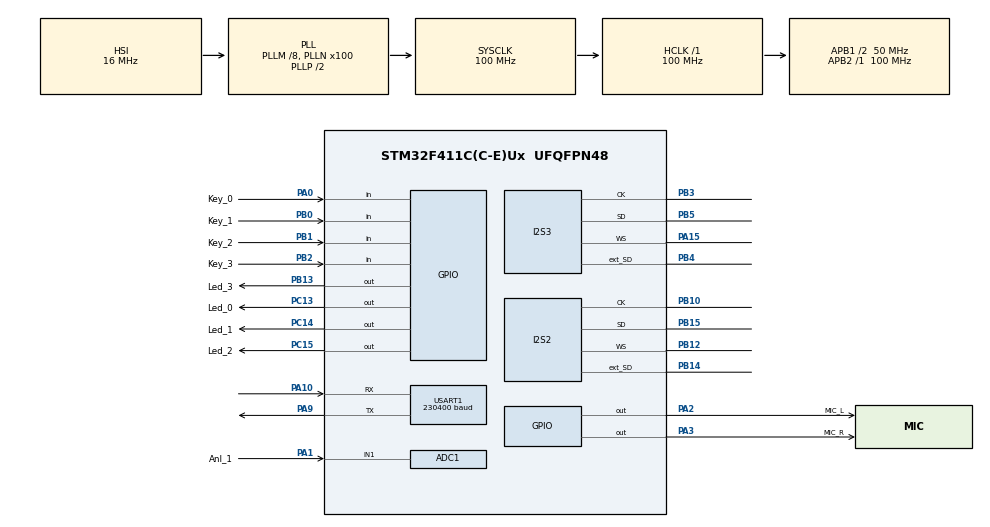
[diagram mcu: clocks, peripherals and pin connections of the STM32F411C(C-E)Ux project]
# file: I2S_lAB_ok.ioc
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ADC1.Channel-0\#ChannelRegularConversion=ADC_CHANNEL_1
ADC1.NbrOfConversionFlag=1
ADC1.Rank-0\#ChannelRegularConversion=1
ADC1.SamplingTime-0\#ChannelRegularConversion=ADC_SAMPLETIME_3CYCLES
ADC1.master=1
Dma.Request0=SPI2_TX
Dma.Request1=SPI3_RX
Dma.Request2=USART1_TX
Dma.SPI2_TX.0.Direction=DMA_MEMORY_TO_PERIPH
Dma.SPI2_TX.0.FIFOMode=DMA_FIFOMODE_DISABLE
Dma.SPI2_TX.0.Instance=DMA1_Stream4
Dma.SPI2_TX.0.MemDataAlignment=DMA_MDATAALIGN_HALFWORD
Dma.SPI2_TX.0.MemInc=DMA_MINC_ENABLE
Dma.SPI2_TX.0.Mode=DMA_CIRCULAR
Dma.SPI2_TX.0.PeriphDataAlignment=DMA_PDATAALIGN_HALFWORD
Dma.SPI2_TX.0.PeriphInc=DMA_PINC_DISABLE
Dma.SPI2_TX.0.Priority=DMA_PRIORITY_LOW
Dma.SPI3_RX.1.Direction=DMA_PERIPH_TO_MEMORY
Dma.SPI3_RX.1.FIFOMode=DMA_FIFOMODE_DISABLE
Dma.SPI3_RX.1.Instance=DMA1_Stream0
Dma.SPI3_RX.1.MemDataAlignment=DMA_MDATAALIGN_HALFWORD
Dma.SPI3_RX.1.MemInc=DMA_MINC_ENABLE
Dma.SPI3_RX.1.Mode=DMA_CIRCULAR
Dma.SPI3_RX.1.PeriphDataAlignment=DMA_PDATAALIGN_HALFWORD
Dma.SPI3_RX.1.PeriphInc=DMA_PINC_DISABLE
Dma.SPI3_RX.1.Priority=DMA_PRIORITY_LOW
Dma.USART1_TX.2.Direction=DMA_MEMORY_TO_PERIPH
Dma.USART1_TX.2.FIFOMode=DMA_FIFOMODE_DISABLE
Dma.USART1_TX.2.Instance=DMA2_Stream7
Dma.USART1_TX.2.MemDataAlignment=DMA_MDATAALIGN_BYTE
Dma.USART1_TX.2.MemInc=DMA_MINC_ENABLE
Dma.USART1_TX.2.Mode=DMA_NORMAL
Dma.USART1_TX.2.PeriphDataAlignment=DMA_PDATAALIGN_BYTE
Dma.USART1_TX.2.PeriphInc=DMA_PINC_DISABLE
Dma.USART1_TX.2.Priority=DMA_PRIORITY_LOW
I2S2.AudioFreq=I2S_AUDIOFREQ_44K
I2S2.CPOL=I2S_CPOL_LOW
I2S2.DataFormat=I2S_DATAFORMAT_16B_EXTENDED
I2S2.ErrorAudioFreq=0.26 %
I2S2.FullDuplexMode=I2S_FULLDUPLEXMODE_ENABLE
I2S2.Instance=SPI$Index
I2S2.RealAudioFreq=44.117 KHz
I2S2.VirtualMode=I2S_MODE_MASTER
I2S3.AudioFreq=I2S_AUDIOFREQ_44K
I2S3.CPOL=I2S_CPOL_LOW
I2S3.DataFormat=I2S_DATAFORMAT_16B_EXTENDED
I2S3.ErrorAudioFreq=0.26 %
I2S3.FullDuplexMode=I2S_FULLDUPLEXMODE_ENABLE
I2S3.Instance=SPI$Index
I2S3.Mode=I2S_MODE_MASTER_RX
I2S3.RealAudioFreq=44.117 KHz
I2S3.VirtualMode=I2S_MODE_MASTER
Mcu.Family=STM32F4
Mcu.Name=STM32F411C(C-E)Ux
Mcu.Package=UFQFPN48
NVIC.DMA1_Stream0_IRQn=true\:0\:0\:false\:false\:true\:false\:true\:true
NVIC.DMA1_Stream4_IRQn=true\:0\:0\:false\:false\:true\:false\:true\:true
NVIC.DMA2_Stream7_IRQn=true\:0\:0\:false\:false\:true\:false\:true\:true
NVIC.PriorityGroup=NVIC_PRIORITYGROUP_4
NVIC.SPI2_IRQn=true\:0\:0\:false\:false\:true\:true\:true\:true
NVIC.SPI3_IRQn=true\:0\:0\:false\:false\:true\:true\:true\:true
PA0-WKUP.GPIO_Label=Key_0
PA0-WKUP.Signal=GPIO_Input
PA1.GPIO_Label=Anl_1
PA1.Signal=ADCx_IN1
PA10.Mode=Asynchronous
PA10.Signal=USART1_RX
PA13.Mode=Serial_Wire
PA13.Signal=SYS_JTMS-SWDIO
PA14.Mode=Serial_Wire
PA14.Signal=SYS_JTCK-SWCLK
PA15.Mode=Full_Duplex_Master
PA15.Signal=I2S3_WS
PA2.GPIO_Label=MIC_L
PA2.Signal=GPIO_Output
PA3.GPIO_Label=MIC_R
PA3.PinState=GPIO_PIN_SET
PA3.Signal=GPIO_Output
PA9.Mode=Asynchronous
PA9.Signal=USART1_TX
PB0.GPIO_Label=Key_1
PB0.GPIO_PuPd=GPIO_PULLUP
PB0.Signal=GPIO_Input
PB1.GPIO_Label=Key_2
PB1.GPIO_PuPd=GPIO_PULLUP
PB1.Signal=GPIO_Input
PB10.Mode=Full_Duplex_Master
PB10.Signal=I2S2_CK
PB12.Mode=Full_Duplex_Master
PB12.Signal=I2S2_WS
PB13.GPIO_Label=Led_3
PB13.Signal=GPIO_Output
PB14.Mode=Full_Duplex_Master
PB14.Signal=I2S2_ext_SD
PB15.Mode=Full_Duplex_Master
PB15.Signal=I2S2_SD
PB2.GPIO_Label=Key_3
PB2.GPIO_PuPd=GPIO_PULLUP
PB2.Signal=GPIO_Input
PB3.Mode=Full_Duplex_Master
PB3.Signal=I2S3_CK
PB4.Mode=Full_Duplex_Master
PB4.Signal=I2S3_ext_SD
PB5.Mode=Full_Duplex_Master
PB5.Signal=I2S3_SD
PC13-ANTI_TAMP.GPIO_Label=Led_0
PC13-ANTI_TAMP.Signal=GPIO_Output
PC14-OSC32_IN.GPIO_Label=Led_1
PC14-OSC32_IN.Signal=GPIO_Output
PC15-OSC32_OUT.GPIO_Label=Led_2
PC15-OSC32_OUT.Signal=GPIO_Output
PH0\ -\ OSC_IN.Mode=HSE-External-Oscillator
PH0\ -\ OSC_IN.Signal=RCC_OSC_IN
PH1\ -\ OSC_OUT.Mode=HSE-External-Oscillator
PH1\ -\ OSC_OUT.Signal=RCC_OSC_OUT
ProjectManager.HeapSize=0x200
ProjectManager.StackSize=0x400
ProjectManager.TargetToolchain=STM32CubeIDE
RCC.48MHZClocksFreq_Value=50000000
RCC.AHBFreq_Value=100000000
RCC.APB1CLKDivider=RCC_HCLK_DIV2
RCC.APB1Freq_Value=50000000
RCC.APB1TimFreq_Value=100000000
RCC.APB2Freq_Value=100000000
RCC.APB2TimFreq_Value=100000000
RCC.CortexFreq_Value=100000000
RCC.HCLKFreq_Value=100000000
RCC.HSE_VALUE=25000000
RCC.HSI_VALUE=16000000
RCC.LSE_VALUE=32768
RCC.PLLM=8
RCC.PLLN=100
RCC.SYSCLKFreq_VALUE=100000000
RCC.SYSCLKSource=RCC_SYSCLKSOURCE_PLLCLK
RCC.VCOOutputFreq_Value=200000000
SH.ADCx_IN1.0=ADC1_IN1,IN1
USART1.BaudRate=230400
USART1.VirtualMode=VM_ASYNC
board=custom

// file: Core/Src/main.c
/* USER CODE BEGIN Header */
/**
  ******************************************************************************
  * @file           : main.c
  * @brief          : Main program body
  ******************************************************************************
  * @attention
  *
  * Copyright (c) 2025 STMicroelectronics.
  * All rights reserved.
  *
  * This software is licensed under terms that can be found in the LICENSE file
  * in the root directory of this software component.
  * If no LICENSE file comes with this software, it is provided AS-IS.
  *
  ******************************************************************************
  */
/* USER CODE END Header */
#include "main.h"

/* USER CODE BEGIN PTD */
#define BUFFER_SIZE 256
int16_t i2s_rx_buffer[BUFFER_SIZE];
int16_t i2s_tx_buffer[BUFFER_SIZE];
char msg[32];

float volume = 1;

//volatile float volume = 1.0f;

/* USER CODE END PTD */

ADC_HandleTypeDef hadc1;

I2S_HandleTypeDef hi2s2;
I2S_HandleTypeDef hi2s3;
DMA_HandleTypeDef hdma_spi2_tx;
DMA_HandleTypeDef hdma_spi3_rx;

UART_HandleTypeDef huart1;
DMA_HandleTypeDef hdma_usart1_tx;

void SystemClock_Config(void);
void PeriphCommonClock_Config(void);
static void MX_GPIO_Init(void);
static void MX_DMA_Init(void);
static void MX_ADC1_Init(void);
static void MX_I2S2_Init(void);
static void MX_I2S3_Init(void);
static void MX_USART1_UART_Init(void);

/* USER CODE BEGIN 0 */
float read_volume_from_potentiometer(void)
{
    HAL_ADC_Start(&hadc1);
    HAL_ADC_PollForConversion(&hadc1, 10);
    uint32_t adc_value = HAL_ADC_GetValue(&hadc1);
    HAL_ADC_Stop(&hadc1);

    // Преобразуем 0-4095 в 0.0 - 2.0
    // 0.0 = тишина, 1.0 = норма, 2.0 = усиление в 2 раза
    return (adc_value / 4095.0f) * 2.0f;
}

void apply_volume(int16_t *buffer, uint16_t size)
{
    for(uint16_t i = 0; i < size; i++) {
        int32_t sample = (int32_t)(buffer[i] * volume);

        // Защита от клиппинга (перегрузки)
        if(sample > 32767) sample = 32767;
        if(sample < -32768) sample = -32768;

        buffer[i] = (int16_t)sample;
    }
}

void HAL_I2S_RxHalfCpltCallback(I2S_HandleTypeDef *hi2s)
{
    // Копируем первую половину буфера
    memcpy(i2s_tx_buffer, i2s_rx_buffer, BUFFER_SIZE/2 * sizeof(int16_t));
    apply_volume(i2s_tx_buffer, BUFFER_SIZE/2);
}

// Обработчик прерывания Complete Transfer
void HAL_I2S_RxCpltCallback(I2S_HandleTypeDef *hi2s)
{
    // Копируем вторую половину буфера
    memcpy(i2s_tx_buffer + BUFFER_SIZE/2, i2s_rx_buffer + BUFFER_SIZE/2,
           BUFFER_SIZE/2 * sizeof(int16_t));
    apply_volume(i2s_tx_buffer + BUFFER_SIZE/2, BUFFER_SIZE/2);
}

/* USER CODE END 0 */

int main(void)
{

  /* MCU Configuration--------------------------------------------------------*/

  /* Reset of all peripherals, Initializes the Flash interface and the Systick. */
  HAL_Init();

  /* Configure the system clock */
  SystemClock_Config();

  /* Configure the peripherals common clocks */
  PeriphCommonClock_Config();

  /* Initialize all configured peripherals */
  MX_GPIO_Init();
  MX_DMA_Init();
  MX_ADC1_Init();
  MX_I2S2_Init();
  MX_I2S3_Init();
  MX_USART1_UART_Init();

  /* Infinite loop */
  /* USER CODE BEGIN WHILE */

  HAL_I2S_Receive_DMA(&hi2s3, (uint16_t*)i2s_rx_buffer, BUFFER_SIZE);
      HAL_I2S_Transmit_DMA(&hi2s2, (uint16_t*)i2s_tx_buffer, BUFFER_SIZE);
  while (1)
  {
	  volume = read_volume_from_potentiometer();
	  HAL_Delay(10);
	  sprintf(msg, "Vol: %.2f ADC: %.0f\r\n", volume, volume * 2047.5f);
	  HAL_UART_Transmit(&huart1, (uint8_t*)msg, strlen(msg), 100);
    /* USER CODE END WHILE */

  }
}

void SystemClock_Config(void)
{
  RCC_OscInitTypeDef RCC_OscInitStruct = {0};
  RCC_ClkInitTypeDef RCC_ClkInitStruct = {0};

  /** Configure the main internal regulator output voltage
  */
  __HAL_RCC_PWR_CLK_ENABLE();
  __HAL_PWR_VOLTAGESCALING_CONFIG(PWR_REGULATOR_VOLTAGE_SCALE1);

  /** Initializes the RCC Oscillators according to the specified parameters
  * in the RCC_OscInitTypeDef structure.
  */
  RCC_OscInitStruct.OscillatorType = RCC_OSCILLATORTYPE_HSI;
  RCC_OscInitStruct.HSIState = RCC_HSI_ON;
  RCC_OscInitStruct.HSICalibrationValue = RCC_HSICALIBRATION_DEFAULT;
  RCC_OscInitStruct.PLL.PLLState = RCC_PLL_ON;
  RCC_OscInitStruct.PLL.PLLSource = RCC_PLLSOURCE_HSI;
  RCC_OscInitStruct.PLL.PLLM = 8;
  RCC_OscInitStruct.PLL.PLLN = 100;
  RCC_OscInitStruct.PLL.PLLP = RCC_PLLP_DIV2;
  RCC_OscInitStruct.PLL.PLLQ = 4;
  if (HAL_RCC_OscConfig(&RCC_OscInitStruct) != HAL_OK)
  {
    Error_Handler();
  }

  /** Initializes the CPU, AHB and APB buses clocks
  */
  RCC_ClkInitStruct.ClockType = RCC_CLOCKTYPE_HCLK|RCC_CLOCKTYPE_SYSCLK
                              |RCC_CLOCKTYPE_PCLK1|RCC_CLOCKTYPE_PCLK2;
  RCC_ClkInitStruct.SYSCLKSource = RCC_SYSCLKSOURCE_PLLCLK;
  RCC_ClkInitStruct.AHBCLKDivider = RCC_SYSCLK_DIV1;
  RCC_ClkInitStruct.APB1CLKDivider = RCC_HCLK_DIV2;
  RCC_ClkInitStruct.APB2CLKDivider = RCC_HCLK_DIV1;

  if (HAL_RCC_ClockConfig(&RCC_ClkInitStruct, FLASH_LATENCY_3) != HAL_OK)
  {
    Error_Handler();
  }
}

void PeriphCommonClock_Config(void)
{
  RCC_PeriphCLKInitTypeDef PeriphClkInitStruct = {0};

  /** Initializes the peripherals clock
  */
  PeriphClkInitStruct.PeriphClockSelection = RCC_PERIPHCLK_I2S;
  PeriphClkInitStruct.PLLI2S.PLLI2SN = 192;
  PeriphClkInitStruct.PLLI2S.PLLI2SM = 16;
  PeriphClkInitStruct.PLLI2S.PLLI2SR = 2;
  if (HAL_RCCEx_PeriphCLKConfig(&PeriphClkInitStruct) != HAL_OK)
  {
    Error_Handler();
  }
}

static void MX_ADC1_Init(void)
{

  ADC_ChannelConfTypeDef sConfig = {0};

  /** Configure the global features of the ADC (Clock, Resolution, Data Alignment and number of conversion)
  */
  hadc1.Instance = ADC1;
  hadc1.Init.ClockPrescaler = ADC_CLOCK_SYNC_PCLK_DIV4;
  hadc1.Init.Resolution = ADC_RESOLUTION_12B;
  hadc1.Init.ScanConvMode = DISABLE;
  hadc1.Init.ContinuousConvMode = DISABLE;
  hadc1.Init.DiscontinuousConvMode = DISABLE;
  hadc1.Init.ExternalTrigConvEdge = ADC_EXTERNALTRIGCONVEDGE_NONE;
  hadc1.Init.ExternalTrigConv = ADC_SOFTWARE_START;
  hadc1.Init.DataAlign = ADC_DATAALIGN_RIGHT;
  hadc1.Init.NbrOfConversion = 1;
  hadc1.Init.DMAContinuousRequests = DISABLE;
  hadc1.Init.EOCSelection = ADC_EOC_SINGLE_CONV;
  if (HAL_ADC_Init(&hadc1) != HAL_OK)
  {
    Error_Handler();
  }

  /** Configure for the selected ADC regular channel its corresponding rank in the sequencer and its sample time.
  */
  sConfig.Channel = ADC_CHANNEL_1;
  sConfig.Rank = 1;
  sConfig.SamplingTime = ADC_SAMPLETIME_3CYCLES;
  if (HAL_ADC_ConfigChannel(&hadc1, &sConfig) != HAL_OK)
  {
    Error_Handler();
  }

}

static void MX_I2S2_Init(void)
{

  hi2s2.Instance = SPI2;
  hi2s2.Init.Mode = I2S_MODE_MASTER_TX;
  hi2s2.Init.Standard = I2S_STANDARD_PHILIPS;
  hi2s2.Init.DataFormat = I2S_DATAFORMAT_16B_EXTENDED;
  hi2s2.Init.MCLKOutput = I2S_MCLKOUTPUT_DISABLE;
  hi2s2.Init.AudioFreq = I2S_AUDIOFREQ_44K;
  hi2s2.Init.CPOL = I2S_CPOL_LOW;
  hi2s2.Init.ClockSource = I2S_CLOCK_PLL;
  hi2s2.Init.FullDuplexMode = I2S_FULLDUPLEXMODE_ENABLE;
  if (HAL_I2S_Init(&hi2s2) != HAL_OK)
  {
    Error_Handler();
  }

}

static void MX_I2S3_Init(void)
{

  hi2s3.Instance = SPI3;
  hi2s3.Init.Mode = I2S_MODE_MASTER_RX;
  hi2s3.Init.Standard = I2S_STANDARD_PHILIPS;
  hi2s3.Init.DataFormat = I2S_DATAFORMAT_16B_EXTENDED;
  hi2s3.Init.MCLKOutput = I2S_MCLKOUTPUT_DISABLE;
  hi2s3.Init.AudioFreq = I2S_AUDIOFREQ_44K;
  hi2s3.Init.CPOL = I2S_CPOL_LOW;
  hi2s3.Init.ClockSource = I2S_CLOCK_PLL;
  hi2s3.Init.FullDuplexMode = I2S_FULLDUPLEXMODE_ENABLE;
  if (HAL_I2S_Init(&hi2s3) != HAL_OK)
  {
    Error_Handler();
  }

}

static void MX_USART1_UART_Init(void)
{

  huart1.Instance = USART1;
  huart1.Init.BaudRate = 230400;
  huart1.Init.WordLength = UART_WORDLENGTH_8B;
  huart1.Init.StopBits = UART_STOPBITS_1;
  huart1.Init.Parity = UART_PARITY_NONE;
  huart1.Init.Mode = UART_MODE_TX_RX;
  huart1.Init.HwFlowCtl = UART_HWCONTROL_NONE;
  huart1.Init.OverSampling = UART_OVERSAMPLING_16;
  if (HAL_UART_Init(&huart1) != HAL_OK)
  {
    Error_Handler();
  }

}

static void MX_DMA_Init(void)
{

  /* DMA controller clock enable */
  __HAL_RCC_DMA1_CLK_ENABLE();
  __HAL_RCC_DMA2_CLK_ENABLE();

  /* DMA interrupt init */
  /* DMA1_Stream0_IRQn interrupt configuration */
  HAL_NVIC_SetPriority(DMA1_Stream0_IRQn, 0, 0);
  HAL_NVIC_EnableIRQ(DMA1_Stream0_IRQn);
  /* DMA1_Stream4_IRQn interrupt configuration */
  HAL_NVIC_SetPriority(DMA1_Stream4_IRQn, 0, 0);
  HAL_NVIC_EnableIRQ(DMA1_Stream4_IRQn);
  /* DMA2_Stream7_IRQn interrupt configuration */
  HAL_NVIC_SetPriority(DMA2_Stream7_IRQn, 0, 0);
  HAL_NVIC_EnableIRQ(DMA2_Stream7_IRQn);

}

static void MX_GPIO_Init(void)
{
  GPIO_InitTypeDef GPIO_InitStruct = {0};

  /* GPIO Ports Clock Enable */
  __HAL_RCC_GPIOC_CLK_ENABLE();
  __HAL_RCC_GPIOH_CLK_ENABLE();
  __HAL_RCC_GPIOA_CLK_ENABLE();
  __HAL_RCC_GPIOB_CLK_ENABLE();

  /*Configure GPIO pin Output Level */
  HAL_GPIO_WritePin(GPIOC, Led_0_Pin|Led_1_Pin|Led_2_Pin, GPIO_PIN_RESET);

  /*Configure GPIO pin Output Level */
  HAL_GPIO_WritePin(MIC_L_GPIO_Port, MIC_L_Pin, GPIO_PIN_RESET);

  /*Configure GPIO pin Output Level */
  HAL_GPIO_WritePin(MIC_R_GPIO_Port, MIC_R_Pin, GPIO_PIN_SET);

  /*Configure GPIO pin Output Level */
  HAL_GPIO_WritePin(Led_3_GPIO_Port, Led_3_Pin, GPIO_PIN_RESET);

  /*Configure GPIO pins : Led_0_Pin Led_1_Pin Led_2_Pin */
  GPIO_InitStruct.Pin = Led_0_Pin|Led_1_Pin|Led_2_Pin;
  GPIO_InitStruct.Mode = GPIO_MODE_OUTPUT_PP;
  GPIO_InitStruct.Pull = GPIO_NOPULL;
  GPIO_InitStruct.Speed = GPIO_SPEED_FREQ_LOW;
  HAL_GPIO_Init(GPIOC, &GPIO_InitStruct);

  /*Configure GPIO pin : Key_0_Pin */
  GPIO_InitStruct.Pin = Key_0_Pin;
  GPIO_InitStruct.Mode = GPIO_MODE_INPUT;
  GPIO_InitStruct.Pull = GPIO_NOPULL;
  HAL_GPIO_Init(Key_0_GPIO_Port, &GPIO_InitStruct);

  /*Configure GPIO pins : MIC_L_Pin MIC_R_Pin */
  GPIO_InitStruct.Pin = MIC_L_Pin|MIC_R_Pin;
  GPIO_InitStruct.Mode = GPIO_MODE_OUTPUT_PP;
  GPIO_InitStruct.Pull = GPIO_NOPULL;
  GPIO_InitStruct.Speed = GPIO_SPEED_FREQ_LOW;
  HAL_GPIO_Init(GPIOA, &GPIO_InitStruct);

  /*Configure GPIO pins : Key_1_Pin Key_2_Pin Key_3_Pin */
  GPIO_InitStruct.Pin = Key_1_Pin|Key_2_Pin|Key_3_Pin;
  GPIO_InitStruct.Mode = GPIO_MODE_INPUT;
  GPIO_InitStruct.Pull = GPIO_PULLUP;
  HAL_GPIO_Init(GPIOB, &GPIO_InitStruct);

  /*Configure GPIO pin : Led_3_Pin */
  GPIO_InitStruct.Pin = Led_3_Pin;
  GPIO_InitStruct.Mode = GPIO_MODE_OUTPUT_PP;
  GPIO_InitStruct.Pull = GPIO_NOPULL;
  GPIO_InitStruct.Speed = GPIO_SPEED_FREQ_LOW;
  HAL_GPIO_Init(Led_3_GPIO_Port, &GPIO_InitStruct);

}

void Error_Handler(void)
{
  __disable_irq();
  while (1)
  {
  }
}
